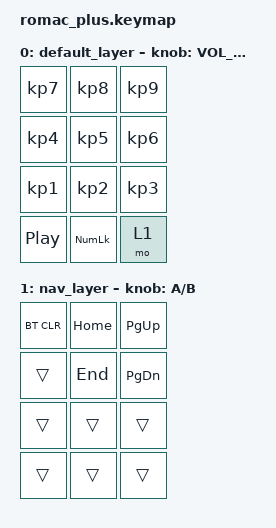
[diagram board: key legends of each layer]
/*
 * Copyright (c) 2020 The ZMK Contributors
 *
 * SPDX-License-Identifier: MIT
 */

#include <behaviors.dtsi>
#include <dt-bindings/zmk/bt.h>
#include <dt-bindings/zmk/keys.h>
#include <dt-bindings/led/led.h>


/ {
    keymap {
        compatible = "zmk,keymap";

        default_layer {
// --------------------------
// | 7      |  8  |  9      |
// | 4      |  5  |  6      |
// | 1      |  2  |  3      |
// | M_PLAY |  0  |  MO(1)  |
// --------------------------
            bindings = <
    &kp KP_N7  &kp KP_N8 &kp KP_N9
    &kp KP_N4  &kp KP_N5 &kp KP_N6
    &kp KP_N1  &kp KP_N2 &kp KP_N3
    &kp C_PP &kp KP_NUM &mo 1
            >;

            sensor-bindings = <&inc_dec_kp K_VOL_UP K_VOL_DN>;
        };

         nav_layer {
// --------------------------
// | BT_CLR |  HOME |  PGUP |
// | _      |  END  |  PGDN |
// | _      |  _    |  _    |
// | _      |  _    |  _    |
// --------------------------
             bindings = <
     &bt BT_CLR &kp HOME &kp PG_UP
     &trans     &kp END  &kp PG_DN
     &trans     &trans   &trans
     &trans     &trans   &trans
             >;

             sensor-bindings = <&inc_dec_kp A B>;
         };
    };
};

&pinctrl {
    spi3_default: spi3_default {
        group1 {
            psels = <NRF_PSEL(SPIM_MOSI, 0, 6)>;
        };
    };

    spi3_sleep: spi3_sleep {
        group1 {
            psels = <NRF_PSEL(SPIM_MOSI, 0, 6)>;
            low-power-enable;
        };
    };
};

&spi3 {
  compatible = "nordic,nrf-spim";
  status = "okay";

  pinctrl-0 = <&spi3_default>;
  pinctrl-1 = <&spi3_sleep>;
  pinctrl-names = "default", "sleep";

  led_strip: ws2812@0 {
    compatible = "worldsemi,ws2812-spi";

    /* SPI */
    reg = <0>; /* ignored, but necessary for SPI bindings */
    spi-max-frequency = <4000000>;

    /* WS2812 */
    spi-one-frame = <0x70>;
    spi-zero-frame = <0x40>;
    color-mapping = <LED_COLOR_ID_GREEN
                          LED_COLOR_ID_RED
                          LED_COLOR_ID_BLUE>;
  };
};

/ {
    chosen {
        zmk,underglow = &led_strip;
    };
};
